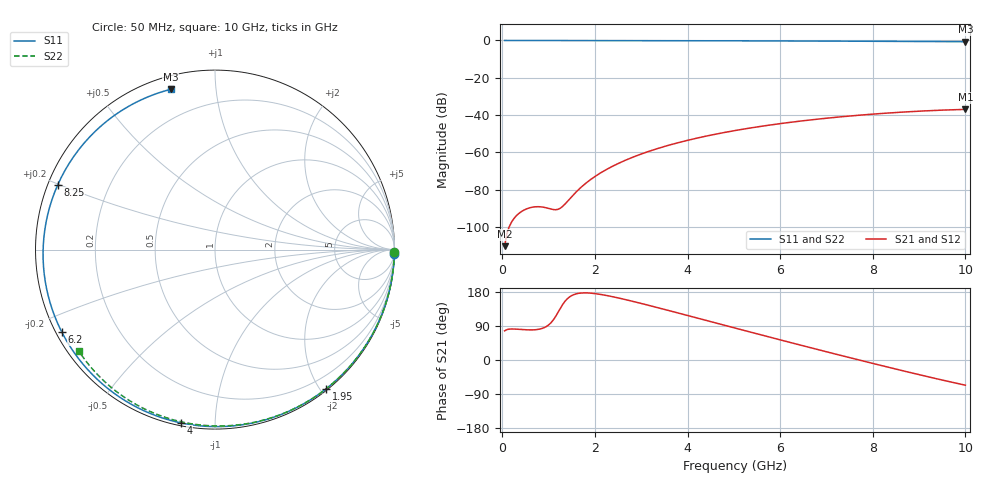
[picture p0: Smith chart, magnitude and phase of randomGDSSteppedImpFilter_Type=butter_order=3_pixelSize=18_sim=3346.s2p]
! freq	dB(S11)	phase(S11)	dB(S12)	phase(S12)
!  dB(S21)	phase(S21)	dB(S22)	phase(S22)
!S-par simulation data
#  GHz  S  DB  R 50
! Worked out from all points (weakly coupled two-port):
!   200 points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, 50 MHz to 10 GHz, reference 50 ohm
!   highest |S21| = -36.93 dB at 10 GHz (marker M1); lowest = -110.2 dB at 50 MHz (marker M2)
!   lowest |S11| = -0.7 dB at 10 GHz (marker M3), VSWR 26.17, Z = 3.02 + j38 ohm
!   |S11| at or under -10 dB: nowhere
!   |S22| runs from -0.5 to 0.0 dB; largest |S21 - S12| = 0
!   S11 on the Smith chart (normalised r, x): 50 MHz: 0, -86; 1.95 GHz: 0.02, -2.08; 4 GHz: 0.01, -0.82; 6.2 GHz: 0.02, -0.25; 8.25 GHz: 0.03, +0.20; 10 GHz: 0.06, +0.76
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0.05  -0.00 -1.3  -110.19 77.0  -110.19 77.0  -0.00 -0.8
0.8  -0.03 -21.4  -89.06 81.3  -89.06 81.3  -0.02 -13.1
1.6  -0.05 -42.4  -81.03 174.7  -81.03 174.7  -0.03 -26.0
1.65  -0.06 -43.7  -79.81 176.0  -79.81 176.0  -0.03 -26.8
1.75  -0.06 -46.2  -77.58 177.1  -77.58 177.1  -0.04 -28.4
1.95  -0.07 -51.3  -73.75 176.0  -73.75 176.0  -0.04 -31.6
2.25  -0.08 -58.9  -69.11 170.3  -69.11 170.3  -0.05 -36.3
2.6  -0.09 -67.6  -64.81 161.1  -64.81 161.1  -0.05 -41.8
3  -0.10 -77.4  -60.83 149.3  -60.83 149.3  -0.06 -48.0
3.4  -0.11 -87.0  -57.54 136.7  -57.54 136.7  -0.07 -54.1
4  -0.14 -101.2  -53.50 117.5  -53.50 117.5  -0.09 -63.0
4.5  -0.16 -112.8  -50.73 101.3  -50.73 101.3  -0.10 -70.3
5.05  -0.19 -125.4  -48.15 83.5  -48.15 83.5  -0.12 -78.1
5.65  -0.23 -139.1  -45.77 64.3  -45.77 64.3  -0.14 -86.5
6.2  -0.27 -151.7  -43.91 46.8  -43.91 46.8  -0.17 -94.0
6.7  -0.31 -163.4  -42.44 31.1  -42.44 31.1  -0.19 -100.7
7.5  -0.39 177.1  -40.47 6.2  -40.47 6.2  -0.24 -111.2
8.25  -0.47 157.6  -39.01 -16.5  -39.01 -16.5  -0.30 -120.8
8.35  -0.48 154.9  -38.84 -19.5  -38.84 -19.5  -0.31 -122.1
9.15  -0.57 132.1  -37.70 -43.0  -37.70 -43.0  -0.39 -132.3
9.6  -0.62 118.3  -37.23 -55.7  -37.23 -55.7  -0.43 -138.1
10  -0.66 105.4  -36.93 -66.5  -36.93 -66.5  -0.48 -143.2
